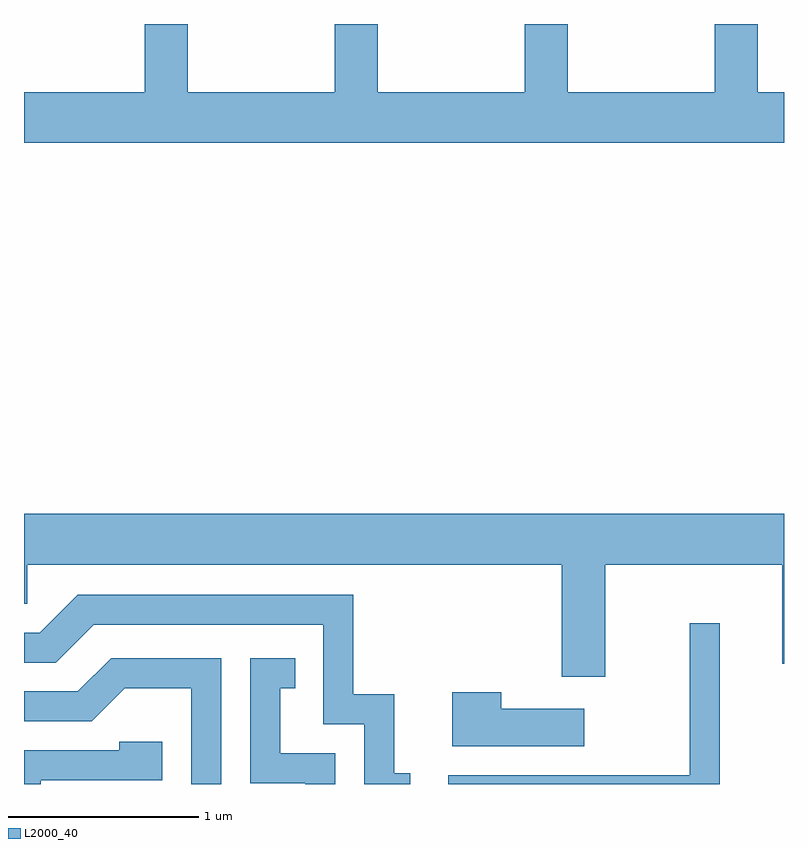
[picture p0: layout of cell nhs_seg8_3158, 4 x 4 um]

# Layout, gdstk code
import gdstk
lib = gdstk.Library(unit=1e-6, precision=1e-09)
def P(c, l, *ps):  # polygons
    for p in ps: c.add(gdstk.Polygon(p, *l))
L2000_40 = (2000, 40)

nhs_seg8_3158 = lib.new_cell('nhs_seg8_3158')
P(nhs_seg8_3158, L2000_40, [(283.611,1869.984),(283.474,1869.984),(283.474,1870.342),(283.246,1870.342),(283.246,1869.984),(282.474,1869.984),(282.474,1870.342),(282.246,1870.342),(282.246,1869.984),(281.474,1869.984),(281.474,1870.342),(281.246,1870.342),(281.246,1869.984),(280.474,1869.984),(280.474,1870.342),(280.246,1870.342),(280.246,1869.984),(279.611,1869.984),(279.611,1869.716),(283.611,1869.716)],
  [(282.669,1867.496),(283.601,1867.496),(283.601,1866.976),(283.611,1866.976),(283.611,1867.764),(279.611,1867.764),(279.611,1867.291),(279.629,1867.291),(279.629,1867.496),(282.441,1867.496),(282.441,1866.906),(282.669,1866.906)],
  [(281.643,1866.399),(281.559,1866.399),(281.559,1866.814),(281.344,1866.814),(281.344,1867.339),(279.894,1867.339),(279.694,1867.139),(279.611,1867.139),(279.611,1866.981),(279.777,1866.981),(279.977,1867.181),(281.186,1867.181),(281.186,1866.656),(281.401,1866.656),(281.401,1866.342),(281.643,1866.342)],
  [(283.274,1867.188),(283.116,1867.188),(283.116,1866.389),(281.843,1866.389),(281.843,1866.342),(283.274,1866.342)],
  [(280.649,1867.004),(280.069,1867.004),(279.894,1866.829),(279.611,1866.829),(279.611,1866.671),(279.967,1866.671),(280.142,1866.846),(280.491,1866.846),(280.491,1866.342),(280.649,1866.342)],
  [(281.249,1866.504),(280.959,1866.504),(280.959,1866.846),(281.038,1866.846),(281.038,1867.004),(280.801,1867.004),(280.801,1866.346),(281.091,1866.346),(281.091,1866.342),(281.249,1866.342)],
  [(282.559,1866.739),(282.124,1866.739),(282.124,1866.824),(281.866,1866.824),(281.866,1866.541),(282.559,1866.541)],
  [(279.699,1866.361),(280.339,1866.361),(280.339,1866.564),(280.111,1866.564),(280.111,1866.519),(279.611,1866.519),(279.611,1866.342),(279.699,1866.342)])

lib.write_gds('nhs_seg8_3158.gds')
